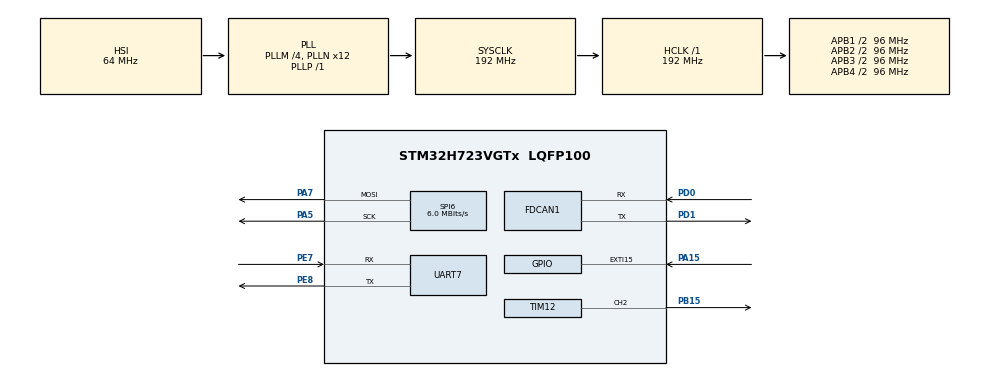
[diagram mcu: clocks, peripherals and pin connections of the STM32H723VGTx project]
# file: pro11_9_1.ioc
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Bdma.Request0=SPI6_TX
Bdma.RequestsNb=1
Bdma.SPI6_TX.0.Direction=DMA_MEMORY_TO_PERIPH
Bdma.SPI6_TX.0.EventEnable=DISABLE
Bdma.SPI6_TX.0.Instance=BDMA_Channel0
Bdma.SPI6_TX.0.MemDataAlignment=DMA_MDATAALIGN_BYTE
Bdma.SPI6_TX.0.MemInc=DMA_MINC_ENABLE
Bdma.SPI6_TX.0.Mode=DMA_NORMAL
Bdma.SPI6_TX.0.PeriphDataAlignment=DMA_PDATAALIGN_BYTE
Bdma.SPI6_TX.0.PeriphInc=DMA_PINC_DISABLE
Bdma.SPI6_TX.0.Polarity=HAL_DMAMUX_REQ_GEN_RISING
Bdma.SPI6_TX.0.Priority=DMA_PRIORITY_LOW
Bdma.SPI6_TX.0.RequestNumber=1
Bdma.SPI6_TX.0.SignalID=NONE
Bdma.SPI6_TX.0.SyncEnable=DISABLE
Bdma.SPI6_TX.0.SyncPolarity=HAL_DMAMUX_SYNC_NO_EVENT
Bdma.SPI6_TX.0.SyncRequestNumber=1
Bdma.SPI6_TX.0.SyncSignalID=NONE
FDCAN1.CalculateBaudRateNominal=1000000
FDCAN1.CalculateTimeBitNominal=1000
FDCAN1.CalculateTimeQuantumNominal=62.5
FDCAN1.DataTimeSeg1=13
FDCAN1.DataTimeSeg2=2
FDCAN1.ExtFiltersNbr=8
FDCAN1.FrameFormat=FDCAN_FRAME_CLASSIC
FDCAN1.NominalPrescaler=6
FDCAN1.NominalTimeSeg1=13
FDCAN1.NominalTimeSeg2=2
FDCAN1.RxBuffersNbr=8
FDCAN1.RxFifo0ElmtsNbr=8
FDCAN1.RxFifo1ElmtsNbr=8
FDCAN1.StdFiltersNbr=8
FDCAN1.TxBuffersNbr=8
FDCAN1.TxEventsNbr=8
FDCAN1.TxFifoQueueElmtsNbr=8
Mcu.Family=STM32H7
Mcu.Name=STM32H723VGTx
Mcu.Package=LQFP100
NVIC.BDMA_Channel0_IRQn=true\:0\:0\:false\:false\:true\:false\:true\:true
NVIC.EXTI15_10_IRQn=true\:15\:0\:true\:false\:true\:true\:true\:true
NVIC.FDCAN1_IT0_IRQn=true\:0\:0\:false\:false\:true\:true\:true\:true
NVIC.PriorityGroup=NVIC_PRIORITYGROUP_4
NVIC.SPI6_IRQn=true\:0\:0\:false\:false\:true\:false\:true\:true
NVIC.UART7_IRQn=true\:15\:0\:true\:false\:true\:true\:true\:true
PA13(JTMS/SWDIO).Mode=Serial_Wire
PA13(JTMS/SWDIO).Signal=DEBUG_JTMS-SWDIO
PA14(JTCK/SWCLK).Mode=Serial_Wire
PA14(JTCK/SWCLK).Signal=DEBUG_JTCK-SWCLK
PA15(JTDI).GPIO_ModeDefaultEXTI=GPIO_MODE_IT_FALLING
PA15(JTDI).GPIO_PuPd=GPIO_PULLUP
PA15(JTDI).Signal=GPXTI15
PA5.Mode=TX_Only_Simplex_Unidirect_Master
PA5.Signal=SPI6_SCK
PA7.Mode=TX_Only_Simplex_Unidirect_Master
PA7.Signal=SPI6_MOSI
PB15.Signal=S_TIM12_CH2
PD0.Mode=FDCAN_Activate
PD0.Signal=FDCAN1_RX
PD1.Mode=FDCAN_Activate
PD1.Signal=FDCAN1_TX
PE7.Mode=Asynchronous
PE7.Signal=UART7_RX
PE8.Mode=Asynchronous
PE8.Signal=UART7_TX
PH0-OSC_IN.Mode=HSE-External-Oscillator
PH0-OSC_IN.Signal=RCC_OSC_IN
PH1-OSC_OUT.Mode=HSE-External-Oscillator
PH1-OSC_OUT.Signal=RCC_OSC_OUT
ProjectManager.HeapSize=0x200
ProjectManager.StackSize=0x400
ProjectManager.TargetToolchain=CMake
RCC.ADCFreq_Value=129000000
RCC.APB1Freq_Value=96000000
RCC.APB2Freq_Value=96000000
RCC.APB3Freq_Value=96000000
RCC.APB4Freq_Value=96000000
RCC.CortexFreq_Value=192000000
RCC.D1PPRE=RCC_APB3_DIV2
RCC.D2PPRE1=RCC_APB1_DIV2
RCC.D2PPRE2=RCC_APB2_DIV2
RCC.D3PPRE=RCC_APB4_DIV2
RCC.DIVM1=4
RCC.DIVN1=12
RCC.DIVP1=1
RCC.HCLKFreq_Value=192000000
RCC.PLL2FRACN=0
RCC.PLL3FRACN=0
RCC.PLLFRACN=0
RCC.SYSCLKFreq_VALUE=192000000
RCC.SYSCLKSource=RCC_SYSCLKSOURCE_PLLCLK
RCC.USBFreq_Value=96000000
SH.S_TIM12_CH2.0=TIM12_CH2,PWM Generation2 CH2
SPI6.BaudRatePrescaler=SPI_BAUDRATEPRESCALER_16
SPI6.CalculateBaudRate=6.0 MBits/s
SPI6.DataSize=SPI_DATASIZE_8BIT
SPI6.Direction=SPI_DIRECTION_2LINES_TXONLY
SPI6.Mode=SPI_MODE_MASTER
SPI6.VirtualType=VM_MASTER
TIM12.Channel-PWM\ Generation2\ CH2=TIM_CHANNEL_2
VP_MEMORYMAP_VS_MEMORYMAP.Mode=CurAppReg
board=custom

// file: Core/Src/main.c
/* USER CODE BEGIN Header */
/**
  ******************************************************************************
  * @file           : main.c
  * @brief          : Main program body
  ******************************************************************************
  * @attention
  *
  * Copyright (c) 2026 STMicroelectronics.
  * All rights reserved.
  *
  * This software is licensed under terms that can be found in the LICENSE file
  * in the root directory of this software component.
  * If no LICENSE file comes with this software, it is provided AS-IS.
  *
  ******************************************************************************
  */
/* USER CODE END Header */
#include "main.h"
#include "bdma.h"
#include "fdcan.h"
#include "spi.h"
#include "tim.h"
#include "usart.h"
#include "gpio.h"

/* USER CODE BEGIN Includes */
#include "ws2812.h"
#include "stdio.h"
#include "GM6020.h"
#include "bsp_can.h"
/* USER CODE END Includes */

/* USER CODE BEGIN PV */
uint8_t rec;
uint32_t last_can_time;
/* USER CODE END PV */

void SystemClock_Config(void);

/* USER CODE BEGIN 0 */
//定时器中断!!!!!!!!!!!!!!!!
//
//
//有问题，未修改！！！！！！！！！！！！！！！！！
//
//
//
// void HAL_TIM_PeriodElapsedCallback(TIM_HandleTypeDef *htim) {
//   if (htim->Instance == TIM1) {
//     WS2812_colorSet(0,0,0,255);
//     WS2812_Refresh();
//     HAL_Delay(1000);
//     WS2812_colorSet(0,0,255,0);
//     WS2812_Refresh();
//     HAL_Delay(1000);
//     WS2812_colorSet(0,255,0,0);
//     WS2812_Refresh();
//     HAL_Delay(1000);
//   }
// }
void HAL_UART_RxCpltCallback(UART_HandleTypeDef *huart)
{
  if(huart->Instance == UART7)
  {
    if(rec == '1')
    {
      __HAL_TIM_SET_COMPARE(&htim12, TIM_CHANNEL_2, 800);
      WS2812_colorSet(0,255,0,0);
    }
    else if(rec == '0')
    {
      __HAL_TIM_SET_COMPARE(&htim12, TIM_CHANNEL_2, 0);
      WS2812_colorSet(0,0,255,0);
    }

    HAL_UART_Receive_IT(&huart7, &rec, 1);
  }
}
/* USER CODE END 0 */

int main(void)
{

  /* MCU Configuration--------------------------------------------------------*/

  /* Reset of all peripherals, Initializes the Flash interface and the Systick. */
  HAL_Init();

  /* Configure the system clock */
  SystemClock_Config();

  /* Initialize all configured peripherals */
  MX_GPIO_Init();
  MX_BDMA_Init();
  MX_SPI6_Init();
  MX_TIM12_Init();
  MX_UART7_Init();
  MX_FDCAN1_Init();
  /* USER CODE BEGIN 2 */
  HAL_FDCAN_Start(&hfdcan1);
  //定时器启用(包含中断）
  // HAL_TIM_Base_Start_IT(&htim12);

  //定时器启用(不使用中断）
  HAL_TIM_Base_Start(&htim12);

  //设置PWM占空比
  __HAL_TIM_SET_COMPARE(&htim12, TIM_CHANNEL_2, 600);

  //启动PWM输出
  HAL_TIM_PWM_Start(&htim12, TIM_CHANNEL_2);

  char trans[]="hello";

  HAL_UART_Receive_IT(&huart7, &rec, 1);
  uint8_t data[] = { 0x00, 0xff, 0x00, 0x00, 0x00, 0x00, 0x00, 0x00 };
  /* USER CODE END 2 */

  /* Infinite loop */
  /* USER CODE BEGIN WHILE */
  while (1)
  {
    __HAL_TIM_SET_COMPARE(&htim12, TIM_CHANNEL_2, 0);
    WS2812_colorSet(0,255,255,0);
    // keyCheck(GPIOA, GPIO_PIN_15);
    // if (keyPressed()) {
    //   WS2812_colorSet(0,0,255,0);
    //   __HAL_TIM_SET_COMPARE(&htim12, TIM_CHANNEL_2, 800);
    //   HAL_Delay(1000);
    //   WS2812_colorSet(0,255,0,0);
    //   __HAL_TIM_SET_COMPARE(&htim12, TIM_CHANNEL_2, 0);
    // if (HAL_GetTick() -last_can_time >=10) {
    HAL_Delay(5);
    // fdcanx_send_data(&hfdcan1, 0x1FE, data, 8);
    GM6020Move(5000, 0, 0, 0);
    //   last_can_time = HAL_GetTick();
    // }
    // }
    // HAL_UART_Transmit(&huart7 , "hello\n", 6, HAL_MAX_DELAY);

    /* USER CODE END WHILE */

  }
}

void SystemClock_Config(void)
{
  RCC_OscInitTypeDef RCC_OscInitStruct = {0};
  RCC_ClkInitTypeDef RCC_ClkInitStruct = {0};

  /** Supply configuration update enable
  */
  HAL_PWREx_ConfigSupply(PWR_LDO_SUPPLY);

  /** Configure the main internal regulator output voltage
  */
  __HAL_PWR_VOLTAGESCALING_CONFIG(PWR_REGULATOR_VOLTAGE_SCALE1);

  while(!__HAL_PWR_GET_FLAG(PWR_FLAG_VOSRDY)) {}

  /** Initializes the RCC Oscillators according to the specified parameters
  * in the RCC_OscInitTypeDef structure.
  */
  RCC_OscInitStruct.OscillatorType = RCC_OSCILLATORTYPE_HSI;
  RCC_OscInitStruct.HSIState = RCC_HSI_DIV1;
  RCC_OscInitStruct.HSICalibrationValue = 64;
  RCC_OscInitStruct.PLL.PLLState = RCC_PLL_ON;
  RCC_OscInitStruct.PLL.PLLSource = RCC_PLLSOURCE_HSI;
  RCC_OscInitStruct.PLL.PLLM = 4;
  RCC_OscInitStruct.PLL.PLLN = 12;
  RCC_OscInitStruct.PLL.PLLP = 1;
  RCC_OscInitStruct.PLL.PLLQ = 2;
  RCC_OscInitStruct.PLL.PLLR = 2;
  RCC_OscInitStruct.PLL.PLLRGE = RCC_PLL1VCIRANGE_3;
  RCC_OscInitStruct.PLL.PLLVCOSEL = RCC_PLL1VCOWIDE;
  RCC_OscInitStruct.PLL.PLLFRACN = 0;
  if (HAL_RCC_OscConfig(&RCC_OscInitStruct) != HAL_OK)
  {
    Error_Handler();
  }

  /** Initializes the CPU, AHB and APB buses clocks
  */
  RCC_ClkInitStruct.ClockType = RCC_CLOCKTYPE_HCLK|RCC_CLOCKTYPE_SYSCLK
                              |RCC_CLOCKTYPE_PCLK1|RCC_CLOCKTYPE_PCLK2
                              |RCC_CLOCKTYPE_D3PCLK1|RCC_CLOCKTYPE_D1PCLK1;
  RCC_ClkInitStruct.SYSCLKSource = RCC_SYSCLKSOURCE_PLLCLK;
  RCC_ClkInitStruct.SYSCLKDivider = RCC_SYSCLK_DIV1;
  RCC_ClkInitStruct.AHBCLKDivider = RCC_HCLK_DIV1;
  RCC_ClkInitStruct.APB3CLKDivider = RCC_APB3_DIV2;
  RCC_ClkInitStruct.APB1CLKDivider = RCC_APB1_DIV2;
  RCC_ClkInitStruct.APB2CLKDivider = RCC_APB2_DIV2;
  RCC_ClkInitStruct.APB4CLKDivider = RCC_APB4_DIV2;

  if (HAL_RCC_ClockConfig(&RCC_ClkInitStruct, FLASH_LATENCY_2) != HAL_OK)
  {
    Error_Handler();
  }
}

void Error_Handler(void)
{
  __disable_irq();
  while (1)
  {
  }
}
